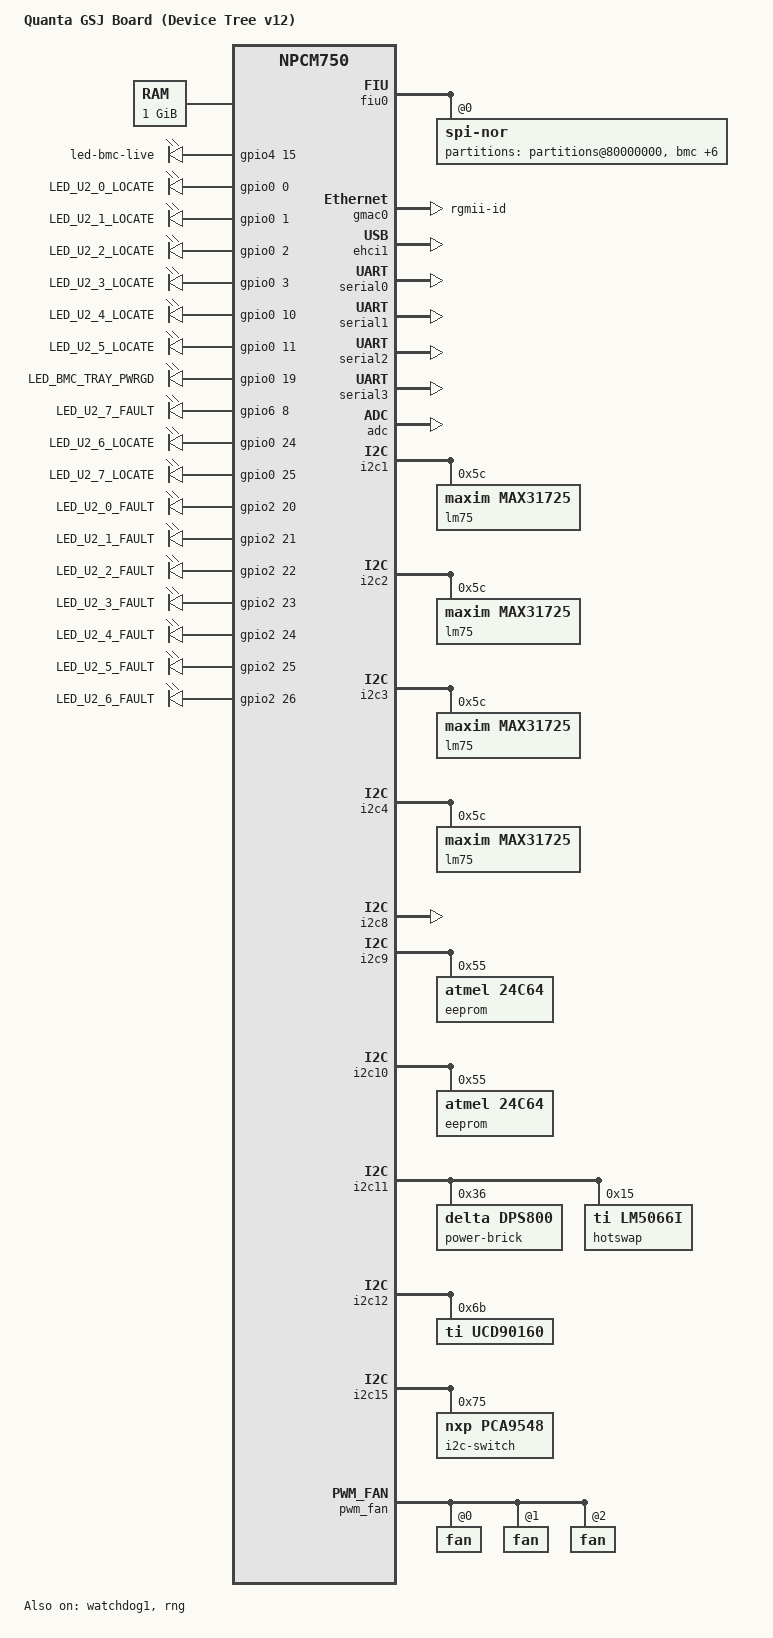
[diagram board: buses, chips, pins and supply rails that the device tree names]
// SPDX-License-Identifier: GPL-2.0
// Copyright (c) 2019 Quanta Computer lnc. Fran.Hsu@quantatw.com

/dts-v1/;
#include "nuvoton-npcm730.dtsi"
#include "nuvoton-npcm730-gsj-gpio.dtsi"

#include <dt-bindings/gpio/gpio.h>

/ {
	model = "Quanta GSJ Board (Device Tree v12)";
	compatible = "nuvoton,npcm750";

	aliases {
		ethernet1 = &gmac0;
		serial3 = &serial3;
		i2c1 = &i2c1;
		i2c2 = &i2c2;
		i2c3 = &i2c3;
		i2c4 = &i2c4;
		i2c8 = &i2c8;
		i2c9 = &i2c9;
		i2c10 = &i2c10;
		i2c11 = &i2c11;
		i2c12 = &i2c12;
		i2c15 = &i2c15;
		fiu0 = &fiu0;
	};

	chosen {
		stdout-path = &serial3;
	};

	memory {
		reg = <0 0x40000000>;
	};

	leds {
		compatible = "gpio-leds";

		led-bmc-live {
			gpios = <&gpio4 15 GPIO_ACTIVE_HIGH>;
			linux,default-trigger = "heartbeat";
		};

		LED_U2_0_LOCATE {
			gpios = <&gpio0 0 GPIO_ACTIVE_HIGH>;
			default-state = "off";
		};

		LED_U2_1_LOCATE {
			gpios = <&gpio0 1 GPIO_ACTIVE_HIGH>;
			default-state = "off";
		};

		LED_U2_2_LOCATE {
			gpios = <&gpio0 2 GPIO_ACTIVE_HIGH>;
			default-state = "off";
		};

		LED_U2_3_LOCATE {
			gpios = <&gpio0 3 GPIO_ACTIVE_HIGH>;
			default-state = "off";
		};

		LED_U2_4_LOCATE {
			gpios = <&gpio0 10 GPIO_ACTIVE_HIGH>;
			default-state = "off";
		};

		LED_U2_5_LOCATE {
			gpios = <&gpio0 11 GPIO_ACTIVE_HIGH>;
			default-state = "off";
		};

		LED_BMC_TRAY_PWRGD {
			gpios = <&gpio0 19 GPIO_ACTIVE_HIGH>;
			default-state = "off";
		};

		LED_U2_7_FAULT {
			gpios = <&gpio6 8 GPIO_ACTIVE_HIGH>;
			default-state = "off";
		};

		LED_U2_6_LOCATE {
			gpios = <&gpio0 24 GPIO_ACTIVE_HIGH>;
			default-state = "off";
		};

		LED_U2_7_LOCATE {
			gpios = <&gpio0 25 GPIO_ACTIVE_HIGH>;
			default-state = "off";
		};

		LED_U2_0_FAULT {
			gpios = <&gpio2 20 GPIO_ACTIVE_HIGH>;
			default-state = "off";
		};

		LED_U2_1_FAULT {
			gpios = <&gpio2 21 GPIO_ACTIVE_HIGH>;
			default-state = "off";
		};

		LED_U2_2_FAULT {
			gpios = <&gpio2 22 GPIO_ACTIVE_HIGH>;
			default-state = "off";
		};

		LED_U2_3_FAULT {
			gpios = <&gpio2 23 GPIO_ACTIVE_HIGH>;
			default-state = "off";
		};

		LED_U2_4_FAULT {
			gpios = <&gpio2 24 GPIO_ACTIVE_HIGH>;
			default-state = "off";
		};

		LED_U2_5_FAULT {
			gpios = <&gpio2 25 GPIO_ACTIVE_HIGH>;
			default-state = "off";
		};

		LED_U2_6_FAULT {
			gpios = <&gpio2 26 GPIO_ACTIVE_HIGH>;
			default-state = "off";
		};
	};
};

&fiu0 {
	pinctrl-names = "default";
	pinctrl-0 = <&spi0cs1_pins>;
	status = "okay";

	spi-nor@0 {
		compatible = "jedec,spi-nor";
		#address-cells = <1>;
		#size-cells = <1>;
		reg = <0>;
		spi-rx-bus-width = <2>;

		partitions@80000000 {
			compatible = "fixed-partitions";
			#address-cells = <1>;
			#size-cells = <1>;
			bmc@0{
				label = "bmc";
				reg = <0x000000 0x2000000>;
			};
			u-boot@0 {
				label = "u-boot";
				reg = <0x0000000 0x80000>;
				read-only;
			};
			u-boot-env@100000{
				label = "u-boot-env";
				reg = <0x00100000 0x40000>;
			};
			kernel@200000 {
				label = "kernel";
				reg = <0x0200000 0x600000>;
			};
			rofs@800000 {
				label = "rofs";
				reg = <0x800000 0x1400000>;
			};
			rwfs@1c00000 {
				label = "rwfs";
				reg = <0x1c00000 0x300000>;
			};
			reserved@1f00000 {
				label = "reserved";
				reg = <0x1f00000 0x100000>;
			};
		};
	};
};

&gmac0 {
	phy-mode = "rgmii-id";
	status = "okay";
};

&ehci1 {
	status = "okay";
};

&watchdog1 {
	status = "okay";
};

&rng {
	status = "okay";
};

&serial0 {
	status = "okay";
};

&serial1 {
	status = "okay";
};

&serial2 {
	status = "okay";
};

&serial3 {
	status = "okay";
};

&adc {
	status = "okay";
};

&i2c1 {
	status = "okay";

	lm75@5c {
		compatible = "maxim,max31725";
		reg = <0x5c>;
		status = "okay";
	};
};

&i2c2 {
	status = "okay";

	lm75@5c {
		compatible = "maxim,max31725";
		reg = <0x5c>;
		status = "okay";
	};
};

&i2c3 {
	status = "okay";

	lm75@5c {
		compatible = "maxim,max31725";
		reg = <0x5c>;
	};
};

&i2c4 {
	status = "okay";

	lm75@5c {
		compatible = "maxim,max31725";
		reg = <0x5c>;
	};
};

&i2c8 {
	status = "okay";
};

&i2c9 {
	status = "okay";

	eeprom@55 {
		compatible = "atmel,24c64";
		reg = <0x55>;
	};
};

&i2c10 {
	status = "okay";

	eeprom@55 {
		compatible = "atmel,24c64";
		reg = <0x55>;
	};
};

&i2c11 {
	status = "okay";

	/* P12V Quarter Brick DC/DC Power Module Q54SH12050 @60 */
	power-brick@36 {
		compatible = "delta,dps800";
		reg = <0x36>;
	};

	hotswap@15 {
		compatible = "ti,lm5066i";
		reg = <0x15>;
	};
};

&i2c12 {
	status = "okay";

	ucd90160@6b {
		compatible = "ti,ucd90160";
		reg = <0x6b>;
	};
};

&i2c15 {
	status = "okay";

	i2c-switch@75 {
		compatible = "nxp,pca9548";
		#address-cells = <1>;
		#size-cells = <0>;
		reg = <0x75>;
		i2c-mux-idle-disconnect;

		i2c_u20: i2c@0 {
			#address-cells = <1>;
			#size-cells = <0>;
			reg = <0>;
		};

		i2c_u21: i2c@1 {
			#address-cells = <1>;
			#size-cells = <0>;
			reg = <1>;
		};

		i2c_u22: i2c@2 {
			#address-cells = <1>;
			#size-cells = <0>;
			reg = <2>;
		};

		i2c_u23: i2c@3 {
			#address-cells = <1>;
			#size-cells = <0>;
			reg = <3>;
		};

		i2c_u24: i2c@4 {
			#address-cells = <1>;
			#size-cells = <0>;
			reg = <4>;
		};

		i2c_u25: i2c@5 {
			#address-cells = <1>;
			#size-cells = <0>;
			reg = <5>;
		};

		i2c_u26: i2c@6 {
			#address-cells = <1>;
			#size-cells = <0>;
			reg = <6>;
		};

		i2c_u27: i2c@7 {
			#address-cells = <1>;
			#size-cells = <0>;
			reg = <7>;
		};
	};
};

&pwm_fan {
	pinctrl-names = "default";
	pinctrl-0 = <&pwm0_pins &pwm1_pins &pwm2_pins
			&fanin0_pins &fanin1_pins
			&fanin2_pins &fanin3_pins
			&fanin4_pins &fanin5_pins>;
	status = "okay";

	fan@0 {
		reg = <0x00>;
		fan-tach-ch = /bits/ 8 <0x00 0x01>;
		cooling-levels = <127 255>;
	};

	fan@1 {
		reg = <0x01>;
		fan-tach-ch = /bits/ 8 <0x02 0x03>;
		cooling-levels = /bits/ 8 <127 255>;
	};

	fan@2 {
		reg = <0x02>;
		fan-tach-ch = /bits/ 8 <0x04 0x05>;
		cooling-levels = /bits/ 8 <127 255>;
	};
};

&pinctrl {
	pinctrl-names = "default";
	pinctrl-0 = <
			/* GPI pins*/
			&gpio8_pins
			&gpio9_pins
			&gpio12_pins
			&gpio13_pins
			&gpio14_pins
			&gpio60_pins
			&gpio83_pins
			&gpio91_pins
			&gpio92_pins
			&gpio95_pins
			&gpio136_pins
			&gpio137_pins
			&gpio141_pins
			&gpio144_pins
			&gpio145_pins
			&gpio146_pins
			&gpio147_pins
			&gpio148_pins
			&gpio149_pins
			&gpio150_pins
			&gpio151_pins
			&gpio152_pins
			&gpio153_pins
			&gpio154_pins
			&gpio155_pins
			&gpio156_pins
			&gpio157_pins
			&gpio158_pins
			&gpio159_pins
			&gpio161_pins
			&gpio162_pins
			&gpio163_pins
			&gpio164_pins
			&gpio165_pins
			&gpio166_pins
			&gpio167_pins
			&gpio168_pins
			&gpio169_pins
			&gpio170_pins
			&gpio177_pins
			&gpio191_pins
			&gpio192_pins
			&gpio203_pins
			/* GPO pins*/
			&gpio0pp_pins
			&gpio1pp_pins
			&gpio2pp_pins
			&gpio3pp_pins
			&gpio4pp_pins
			&gpio5pp_pins
			&gpio6pp_pins
			&gpio7pp_pins
			&gpio10pp_pins
			&gpio11pp_pins
			&gpio15od_pins
			&gpio17pp_pins
			&gpio18pp_pins
			&gpio19pp_pins
			&gpio24pp_pins
			&gpio25pp_pins
			&gpio37od_pins
			&gpio59pp_pins
			&gpio72od_pins
			&gpio73od_pins
			&gpio74od_pins
			&gpio75od_pins
			&gpio76od_pins
			&gpio77od_pins
			&gpio78od_pins
			&gpio79od_pins
			&gpio84pp_pins
			&gpio85pp_pins
			&gpio86pp_pins
			&gpio87pp_pins
			&gpio88pp_pins
			&gpio89pp_pins
			&gpio90pp_pins
			&gpio93pp_pins
			&gpio94pp_pins
			&gpio125pp_pins
			&gpio126od_pins
			&gpio127od_pins
			&gpio142od_pins
			&gpio143ol_pins
			&gpio175od_pins
			&gpio176od_pins
			&gpio190od_pins
			&gpio194pp_pins
			&gpio195od_pins
			&gpio196od_pins
			&gpio197od_pins
			&gpio198od_pins
			&gpio199od_pins
			&gpio200pp_pins
			&gpio202od_pins
			>;
};
